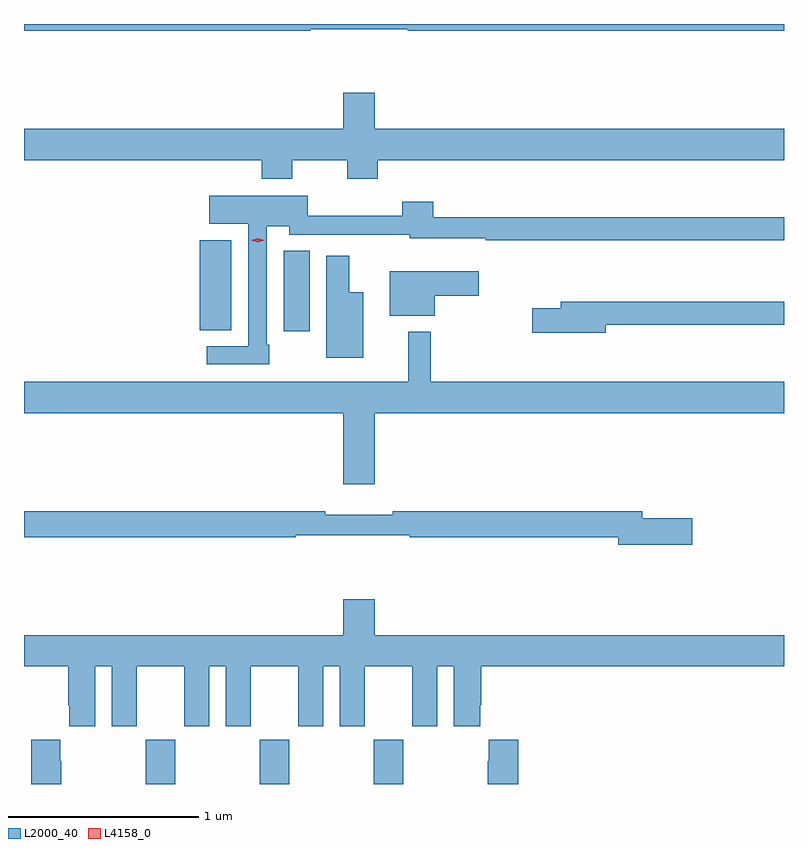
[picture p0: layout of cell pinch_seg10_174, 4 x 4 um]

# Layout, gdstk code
import gdstk
lib = gdstk.Library(unit=1e-6, precision=1e-09)
def R(c, l, rs):  # rectangles x0, y0, x1, y1
    for r in rs: c.add(gdstk.rectangle(r[:2], r[2:], *l))
def A(c, l, x, y, w, h, nx, ny, dx, dy):  # array of equal rectangles
    R(c, l, [(x+i*dx, y+j*dy, x+i*dx+w, y+j*dy+h) for i in range(nx) for j in range(ny)])
def P(c, l, *ps):  # polygons
    for p in ps: c.add(gdstk.Polygon(p, *l))
L2000_40 = (2000, 40)
L4158_0 = (4158, 0)

pinch_seg10_174 = lib.new_cell('pinch_seg10_174')
A(pinch_seg10_174, L2000_40, 727.405, 1253.076, 0.155, 0.232, 3, 1, 0.6, 0)
R(pinch_seg10_174, L2000_40, [(728.129,1255.458,728.266,1255.883), (727.688,1255.465,727.855,1255.939)])
P(pinch_seg10_174, L2000_40, [(728.27,1257.048),(728.782,1257.048),(728.782,1257.04),(730.763,1257.04),(730.763,1257.076),(726.763,1257.076),(726.763,1257.04),(728.27,1257.04)],
  [(728.175,1256.36),(728.464,1256.36),(728.464,1256.261),(728.624,1256.261),(728.624,1256.36),(730.763,1256.36),(730.763,1256.524),(728.608,1256.524),(728.608,1256.713),(728.444,1256.713),(728.444,1256.524),(726.763,1256.524),(726.763,1256.36),(728.015,1256.36),(728.015,1256.261),(728.175,1256.261)],
  [(728.053,1255.387),(728.04,1255.387),(728.04,1256.012),(728.16,1256.012),(728.16,1255.968),(728.572,1255.968),(728.572,1255.967),(728.793,1255.967),(728.793,1255.949),(729.193,1255.949),(729.193,1255.938),(730.763,1255.938),(730.763,1256.059),(728.918,1256.059),(728.918,1256.14),(728.753,1256.14),(728.753,1256.066),(728.256,1256.066),(728.256,1256.173),(727.737,1256.173),(727.737,1256.024),(727.944,1256.024),(727.944,1255.38),(727.725,1255.38),(727.725,1255.284),(728.053,1255.284)],
  [(728.548,1255.663),(728.476,1255.663),(728.476,1255.855),(728.354,1255.855),(728.354,1255.319),(728.548,1255.319)],
  [(728.926,1255.645),(729.157,1255.645),(729.157,1255.774),(728.687,1255.774),(728.687,1255.541),(728.926,1255.541)],
  [(729.826,1255.494),(730.763,1255.494),(730.763,1255.615),(729.587,1255.615),(729.587,1255.581),(729.438,1255.581),(729.438,1255.451),(729.826,1255.451)],
  [(726.763,1255.028),(728.444,1255.028),(728.444,1254.654),(728.608,1254.654),(728.608,1255.028),(730.763,1255.028),(730.763,1255.192),(728.903,1255.192),(728.903,1255.456),(728.785,1255.456),(728.785,1255.192),(726.763,1255.192)],
  [(730.279,1254.476),(730.018,1254.476),(730.018,1254.512),(728.704,1254.512),(728.704,1254.493),(728.348,1254.493),(728.348,1254.512),(726.763,1254.512),(726.763,1254.376),(728.194,1254.376),(728.194,1254.384),(728.794,1254.384),(728.794,1254.376),(729.89,1254.376),(729.89,1254.334),(730.279,1254.334)],
  [(727.138,1253.696),(727.226,1253.696),(727.226,1253.379),(727.357,1253.379),(727.357,1253.696),(727.607,1253.696),(727.607,1253.379),(727.738,1253.379),(727.738,1253.696),(727.826,1253.696),(727.826,1253.379),(727.957,1253.379),(727.957,1253.696),(728.207,1253.696),(728.207,1253.379),(728.338,1253.379),(728.338,1253.696),(728.426,1253.696),(728.426,1253.379),(728.557,1253.379),(728.557,1253.696),(728.807,1253.696),(728.807,1253.379),(728.938,1253.379),(728.938,1253.696),(729.026,1253.696),(729.026,1253.379),(729.163,1253.379),(729.163,1253.491),(729.17,1253.491),(729.17,1253.696),(730.763,1253.696),(730.763,1253.86),(728.608,1253.86),(728.608,1254.049),(728.444,1254.049),(728.444,1253.86),(726.763,1253.86),(726.763,1253.696),(726.995,1253.696),(726.995,1253.491),(727.001,1253.491),(727.001,1253.379),(727.138,1253.379)],
  [(726.96,1253.195),(726.955,1253.195),(726.955,1253.308),(726.8,1253.308),(726.8,1253.076),(726.96,1253.076)],
  [(729.365,1253.308),(729.209,1253.308),(729.209,1253.195),(729.205,1253.195),(729.205,1253.076),(729.365,1253.076)])
P(pinch_seg10_174, L4158_0, [(727.993,1255.928),(727.958,1255.938),(727.958,1255.938),(727.958,1255.938),(727.993,1255.948),(728.028,1255.938),(728.028,1255.938),(728.028,1255.938)])

lib.write_gds('pinch_seg10_174.gds')
